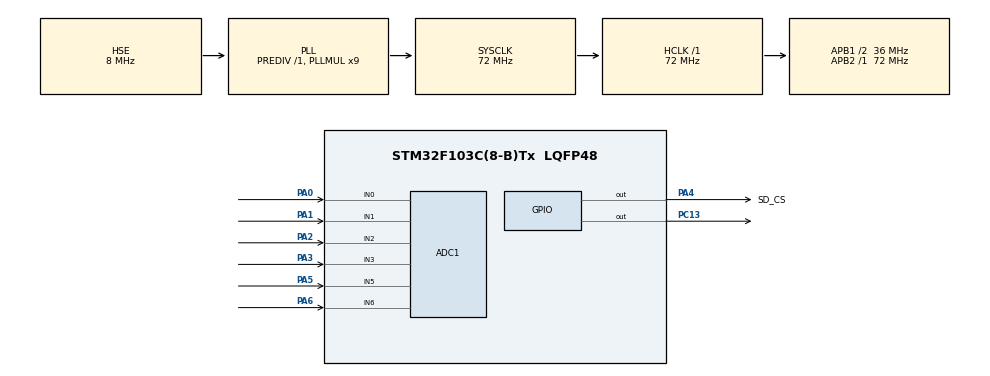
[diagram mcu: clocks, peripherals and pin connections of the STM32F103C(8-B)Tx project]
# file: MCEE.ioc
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ADC1.Channel-3\#ChannelRegularConversion=ADC_CHANNEL_0
ADC1.Channel-4\#ChannelRegularConversion=ADC_CHANNEL_1
ADC1.Channel-5\#ChannelRegularConversion=ADC_CHANNEL_2
ADC1.Channel-6\#ChannelRegularConversion=ADC_CHANNEL_3
ADC1.Channel-7\#ChannelRegularConversion=ADC_CHANNEL_5
ADC1.Channel-8\#ChannelRegularConversion=ADC_CHANNEL_6
ADC1.ExternalTrigConv=ADC_EXTERNALTRIGCONV_T3_TRGO
ADC1.NbrOfConversion=6
ADC1.NbrOfConversionFlag=1
ADC1.Rank-3\#ChannelRegularConversion=1
ADC1.Rank-4\#ChannelRegularConversion=2
ADC1.Rank-5\#ChannelRegularConversion=3
ADC1.Rank-6\#ChannelRegularConversion=4
ADC1.Rank-7\#ChannelRegularConversion=5
ADC1.Rank-8\#ChannelRegularConversion=6
ADC1.SamplingTime-3\#ChannelRegularConversion=ADC_SAMPLETIME_71CYCLES_5
ADC1.SamplingTime-4\#ChannelRegularConversion=ADC_SAMPLETIME_71CYCLES_5
ADC1.SamplingTime-5\#ChannelRegularConversion=ADC_SAMPLETIME_71CYCLES_5
ADC1.SamplingTime-6\#ChannelRegularConversion=ADC_SAMPLETIME_71CYCLES_5
ADC1.SamplingTime-7\#ChannelRegularConversion=ADC_SAMPLETIME_71CYCLES_5
ADC1.SamplingTime-8\#ChannelRegularConversion=ADC_SAMPLETIME_71CYCLES_5
ADC1.master=1
Dma.ADC1.0.Direction=DMA_PERIPH_TO_MEMORY
Dma.ADC1.0.Instance=DMA1_Channel1
Dma.ADC1.0.MemDataAlignment=DMA_MDATAALIGN_HALFWORD
Dma.ADC1.0.MemInc=DMA_MINC_ENABLE
Dma.ADC1.0.Mode=DMA_CIRCULAR
Dma.ADC1.0.PeriphDataAlignment=DMA_PDATAALIGN_HALFWORD
Dma.ADC1.0.PeriphInc=DMA_PINC_DISABLE
Dma.ADC1.0.Priority=DMA_PRIORITY_VERY_HIGH
Dma.Request0=ADC1
Mcu.Family=STM32F1
Mcu.Name=STM32F103C(8-B)Tx
Mcu.Package=LQFP48
NVIC.DMA1_Channel1_IRQn=true\:0\:0\:false\:false\:true\:false\:true\:true
NVIC.PriorityGroup=NVIC_PRIORITYGROUP_4
PA0-WKUP.Signal=ADCx_IN0
PA1.Signal=ADCx_IN1
PA13.Mode=Serial_Wire
PA13.Signal=SYS_JTMS-SWDIO
PA14.Mode=Serial_Wire
PA14.Signal=SYS_JTCK-SWCLK
PA2.Signal=ADCx_IN2
PA3.Signal=ADCx_IN3
PA4.GPIO_Label=SD_CS
PA4.Signal=GPIO_Output
PA5.Signal=ADCx_IN5
PA6.Signal=ADCx_IN6
PC13-TAMPER-RTC.GPIO_PuPd=GPIO_NOPULL
PC13-TAMPER-RTC.Signal=GPIO_Output
PC14-OSC32_IN.Mode=LSE-External-Oscillator
PC14-OSC32_IN.Signal=RCC_OSC32_IN
PC15-OSC32_OUT.Mode=LSE-External-Oscillator
PC15-OSC32_OUT.Signal=RCC_OSC32_OUT
PD0-OSC_IN.Mode=HSE-External-Oscillator
PD0-OSC_IN.Signal=RCC_OSC_IN
PD1-OSC_OUT.Mode=HSE-External-Oscillator
PD1-OSC_OUT.Signal=RCC_OSC_OUT
ProjectManager.HeapSize=0x200
ProjectManager.StackSize=0x400
ProjectManager.TargetToolchain=STM32CubeIDE
RCC.ADCPresc=RCC_ADCPCLK2_DIV6
RCC.AHBFreq_Value=72000000
RCC.APB1CLKDivider=RCC_HCLK_DIV2
RCC.APB1Freq_Value=36000000
RCC.APB1TimFreq_Value=72000000
RCC.APB2Freq_Value=72000000
RCC.APB2TimFreq_Value=72000000
RCC.HCLKFreq_Value=72000000
RCC.PLLMUL=RCC_PLL_MUL9
RCC.PLLSourceVirtual=RCC_PLLSOURCE_HSE
RCC.SYSCLKFreq_VALUE=72000000
RCC.SYSCLKSource=RCC_SYSCLKSOURCE_PLLCLK
RCC.USBFreq_Value=72000000
SH.ADCx_IN0.0=ADC1_IN0,IN0
SH.ADCx_IN1.0=ADC1_IN1,IN1
SH.ADCx_IN2.0=ADC1_IN2,IN2
SH.ADCx_IN3.0=ADC1_IN3,IN3
SH.ADCx_IN5.0=ADC1_IN5,IN5
SH.ADCx_IN6.0=ADC1_IN6,IN6
TIM3.Period=199
TIM3.Prescaler=71
TIM3.TIM_MasterOutputTrigger=TIM_TRGO_UPDATE
VP_TIM3_VS_ClockSourceINT.Mode=Internal
board=custom

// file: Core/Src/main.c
/* USER CODE BEGIN Header */
/**
  ******************************************************************************
  * @file           : main.c
  * @brief          : Main program body
  ******************************************************************************
  * @attention
  *
  * Copyright (c) 2026 STMicroelectronics.
  * All rights reserved.
  *
  * This software is licensed under terms that can be found in the LICENSE file
  * in the root directory of this software component.
  * If no LICENSE file comes with this software, it is provided AS-IS.
  *
  ******************************************************************************
  */
/* USER CODE END Header */
#include "main.h"

/* USER CODE BEGIN Includes */
#include <math.h>
/* USER CODE END Includes */

ADC_HandleTypeDef hadc1;
DMA_HandleTypeDef hdma_adc1;
TIM_HandleTypeDef htim3;

/* USER CODE BEGIN PV */

/* ADC */
#define ADC_CHANNELS              6
#define DMA_BUFFER_SAMPLES        256
#define HALF_BUFFER_SAMPLES       (DMA_BUFFER_SAMPLES / 2)
#define SAMPLES_PER_CYCLE   100   // 5000 SPS / 50 Hz
#define WARMUP_BUFFERS   200   // ~5s de descarte antes de calibrar y medir
volatile uint16_t buffer_count = 0;
/* Buffer del ADC */
uint16_t adc_buffer[ADC_CHANNELS * DMA_BUFFER_SAMPLES];
volatile uint8_t adc_half_complete = 0;
volatile uint8_t adc_full_complete = 0;
uint8_t calibration_done = 0;

/* TENSION */
float voltage1[HALF_BUFFER_SAMPLES];
float voltage2[HALF_BUFFER_SAMPLES];
float voltage3[HALF_BUFFER_SAMPLES];
float voltage1_ac[HALF_BUFFER_SAMPLES];
float voltage2_ac[HALF_BUFFER_SAMPLES];
float voltage3_ac[HALF_BUFFER_SAMPLES];
float voltage1_offset = 0.0f;
float voltage2_offset = 0.0f;
float voltage3_offset = 0.0f;
float voltage1_gain = 229/1.355;//1.355vrms medidos con 228 vac medidos con multimetro
float voltage2_gain = 1.0f;
float voltage3_gain = 1.0f;
volatile float vrms1 = 0;
volatile float vrms2 = 0;
volatile float vrms3 = 0;
// Media movil
#define VRMS_AVG_SAMPLES   50   // ~1s de promedio (50 buffers de ~20ms)
volatile float vrms1_display = 0.0f;
static float vrms1_accum = 0.0f;
static uint16_t vrms1_avg_count = 0;

/* CORRIENTE */
float current1[HALF_BUFFER_SAMPLES];
float current2[HALF_BUFFER_SAMPLES];
float current3[HALF_BUFFER_SAMPLES];
float current1_ac[HALF_BUFFER_SAMPLES];
float current2_ac[HALF_BUFFER_SAMPLES];
float current3_ac[HALF_BUFFER_SAMPLES];
float current1_offset = 0.0f;
float current2_offset = 0.0f;
float current3_offset = 0.0f;
float current1_gain = 1.0f;
float current2_gain = 1.0f;
float current3_gain = 1.0f;
volatile float irms1 = 0;
volatile float irms2 = 0;
volatile float irms3 = 0;
// Media movil
volatile float irms1_display = 0.0f;
static float irms1_accum = 0.0f;
static uint16_t irms1_avg_count = 0;

/* FRECUENCIA */
volatile float measured_line_freq = 0.0f;
volatile float line_freq_min = 9999.0f;
volatile float line_freq_max = 0.0f;
#define ZC_HYSTERESIS   3.0f   // volts; ajustable segun ruido observado
#define MIN_SAMPLES_PER_CYCLE  95    // ~52.6Hz máximo plausible (+5%)
#define MAX_SAMPLES_PER_CYCLE  105   // ~47.6Hz mínimo plausible (-5%)

/* ARMONICOS */
#define MAX_HARMONIC   25   // armónico más alto a calcular (ajustable, hasta ~40-45 con margen)
float voltage1_harmonics[MAX_HARMONIC + 1]; // [1]=fundamental, [2]=2do armonico, etc. [0] no se usa
float voltage1_thd = 0.0f;

/* POTENCIA */
volatile float p_active1 = 0.0f;
volatile float p_apparent1 = 0.0f;
volatile float p_reactive1 = 0.0f;
volatile float power_factor1 = 0.0f;

/* EVENTOS: SAG-SWELL */
typedef enum { EVENT_NONE = 0, EVENT_SAG, EVENT_SWELL } event_type_t;
typedef struct {
    event_type_t type;
    uint32_t start_time_ms;
    uint32_t duration_ms;
    float extreme_value;   // valor minimo (sag) o maximo (swell) alcanzado
} power_event_t;
#define MAX_EVENTS_LOG   20
power_event_t events_log[MAX_EVENTS_LOG];
volatile uint8_t events_count = 0;
static event_type_t current_event_type = EVENT_NONE;
static uint32_t current_event_start = 0;
static float current_event_extreme = 0.0f;
#define NOMINAL_VOLTAGE       220.0f
#define SAG_THRESHOLD_LOW     (0.90f * NOMINAL_VOLTAGE)  // entra en sag
#define SAG_THRESHOLD_HIGH    (0.92f * NOMINAL_VOLTAGE)  // sale del sag (histeresis)
#define SWELL_THRESHOLD_HIGH  (1.10f * NOMINAL_VOLTAGE)  // entra en swell
#define SWELL_THRESHOLD_LOW   (1.08f * NOMINAL_VOLTAGE)  // sale del swell (histeresis)

/* USER CODE END PV */

void SystemClock_Config(void);
static void MX_GPIO_Init(void);
static void MX_DMA_Init(void);
static void MX_ADC1_Init(void);
static void MX_TIM3_Init(void);
/* USER CODE BEGIN PFP */
void ProcessADCBuffer(uint16_t *buffer);
void ProcessMeasurements(void);
void CalibrateOffset(void);
void ApplyCalibration(void);
float CalculateRMS(float *signal);
float CalculateMean(float *signal);
float GoertzelMagnitude(float *signal, uint16_t N, uint16_t k);
void CalculateHarmonics(float *signal);
float MeasureLineFrequency(float *signal, uint16_t N, float fs);
void CalculatePower(float *voltage_ac, float *current_ac, float vrms, float irms);
void DetectVoltageEvents(float vrms);

/* USER CODE END PFP */

int main(void)
{

  /* MCU Configuration--------------------------------------------------------*/

  /* Reset of all peripherals, Initializes the Flash interface and the Systick. */
  HAL_Init();

  /* Configure the system clock */
  SystemClock_Config();

  /* Initialize all configured peripherals */
  MX_GPIO_Init();
  MX_DMA_Init();
  MX_ADC1_Init();
  MX_TIM3_Init();
  /* USER CODE BEGIN 2 */

  HAL_TIM_Base_Start_IT(&htim3);
  HAL_ADC_Start_DMA(&hadc1, (uint32_t*)adc_buffer, ADC_CHANNELS * DMA_BUFFER_SAMPLES);
  /* USER CODE END 2 */

  /* Infinite loop */
  /* USER CODE BEGIN WHILE */
  while (1)
  {
	  // Leer y procesar las muestras capturadas por el ADC dependiendo si esta a la mitad o al final de la cola
	  if (adc_half_complete)
	  {
		  adc_half_complete = 0;
		  ProcessADCBuffer(&adc_buffer[0]);
		  ProcessMeasurements();
	  }

	  else if (adc_full_complete)
	  {
		  adc_full_complete = 0;
		  ProcessADCBuffer(&adc_buffer[(ADC_CHANNELS * DMA_BUFFER_SAMPLES)/2]);
		  ProcessMeasurements();
	  }

    /* USER CODE END WHILE */

  }
}

void SystemClock_Config(void)
{
  RCC_OscInitTypeDef RCC_OscInitStruct = {0};
  RCC_ClkInitTypeDef RCC_ClkInitStruct = {0};
  RCC_PeriphCLKInitTypeDef PeriphClkInit = {0};

  /** Initializes the RCC Oscillators according to the specified parameters
  * in the RCC_OscInitTypeDef structure.
  */
  RCC_OscInitStruct.OscillatorType = RCC_OSCILLATORTYPE_HSE;
  RCC_OscInitStruct.HSEState = RCC_HSE_ON;
  RCC_OscInitStruct.HSEPredivValue = RCC_HSE_PREDIV_DIV1;
  RCC_OscInitStruct.HSIState = RCC_HSI_ON;
  RCC_OscInitStruct.PLL.PLLState = RCC_PLL_ON;
  RCC_OscInitStruct.PLL.PLLSource = RCC_PLLSOURCE_HSE;
  RCC_OscInitStruct.PLL.PLLMUL = RCC_PLL_MUL9;
  if (HAL_RCC_OscConfig(&RCC_OscInitStruct) != HAL_OK)
  {
    Error_Handler();
  }

  /** Initializes the CPU, AHB and APB buses clocks
  */
  RCC_ClkInitStruct.ClockType = RCC_CLOCKTYPE_HCLK|RCC_CLOCKTYPE_SYSCLK
                              |RCC_CLOCKTYPE_PCLK1|RCC_CLOCKTYPE_PCLK2;
  RCC_ClkInitStruct.SYSCLKSource = RCC_SYSCLKSOURCE_PLLCLK;
  RCC_ClkInitStruct.AHBCLKDivider = RCC_SYSCLK_DIV1;
  RCC_ClkInitStruct.APB1CLKDivider = RCC_HCLK_DIV2;
  RCC_ClkInitStruct.APB2CLKDivider = RCC_HCLK_DIV1;

  if (HAL_RCC_ClockConfig(&RCC_ClkInitStruct, FLASH_LATENCY_2) != HAL_OK)
  {
    Error_Handler();
  }
  PeriphClkInit.PeriphClockSelection = RCC_PERIPHCLK_ADC;
  PeriphClkInit.AdcClockSelection = RCC_ADCPCLK2_DIV6;
  if (HAL_RCCEx_PeriphCLKConfig(&PeriphClkInit) != HAL_OK)
  {
    Error_Handler();
  }
}

static void MX_ADC1_Init(void)
{

  ADC_ChannelConfTypeDef sConfig = {0};

  /** Common config
  */
  hadc1.Instance = ADC1;
  hadc1.Init.ScanConvMode = ADC_SCAN_ENABLE;
  hadc1.Init.ContinuousConvMode = DISABLE;
  hadc1.Init.DiscontinuousConvMode = DISABLE;
  hadc1.Init.ExternalTrigConv = ADC_EXTERNALTRIGCONV_T3_TRGO;
  hadc1.Init.DataAlign = ADC_DATAALIGN_RIGHT;
  hadc1.Init.NbrOfConversion = 6;
  if (HAL_ADC_Init(&hadc1) != HAL_OK)
  {
    Error_Handler();
  }

  /** Configure Regular Channel
  */
  sConfig.Channel = ADC_CHANNEL_0;
  sConfig.Rank = ADC_REGULAR_RANK_1;
  sConfig.SamplingTime = ADC_SAMPLETIME_71CYCLES_5;
  if (HAL_ADC_ConfigChannel(&hadc1, &sConfig) != HAL_OK)
  {
    Error_Handler();
  }

  /** Configure Regular Channel
  */
  sConfig.Channel = ADC_CHANNEL_1;
  sConfig.Rank = ADC_REGULAR_RANK_2;
  if (HAL_ADC_ConfigChannel(&hadc1, &sConfig) != HAL_OK)
  {
    Error_Handler();
  }

  /** Configure Regular Channel
  */
  sConfig.Channel = ADC_CHANNEL_2;
  sConfig.Rank = ADC_REGULAR_RANK_3;
  if (HAL_ADC_ConfigChannel(&hadc1, &sConfig) != HAL_OK)
  {
    Error_Handler();
  }

  /** Configure Regular Channel
  */
  sConfig.Channel = ADC_CHANNEL_3;
  sConfig.Rank = ADC_REGULAR_RANK_4;
  if (HAL_ADC_ConfigChannel(&hadc1, &sConfig) != HAL_OK)
  {
    Error_Handler();
  }

  /** Configure Regular Channel
  */
  sConfig.Channel = ADC_CHANNEL_5;
  sConfig.Rank = ADC_REGULAR_RANK_5;
  if (HAL_ADC_ConfigChannel(&hadc1, &sConfig) != HAL_OK)
  {
    Error_Handler();
  }

  /** Configure Regular Channel
  */
  sConfig.Channel = ADC_CHANNEL_6;
  sConfig.Rank = ADC_REGULAR_RANK_6;
  if (HAL_ADC_ConfigChannel(&hadc1, &sConfig) != HAL_OK)
  {
    Error_Handler();
  }

}

static void MX_TIM3_Init(void)
{

  TIM_ClockConfigTypeDef sClockSourceConfig = {0};
  TIM_MasterConfigTypeDef sMasterConfig = {0};

  htim3.Instance = TIM3;
  htim3.Init.Prescaler = 71;
  htim3.Init.CounterMode = TIM_COUNTERMODE_UP;
  htim3.Init.Period = 199;
  htim3.Init.ClockDivision = TIM_CLOCKDIVISION_DIV1;
  htim3.Init.AutoReloadPreload = TIM_AUTORELOAD_PRELOAD_DISABLE;
  if (HAL_TIM_Base_Init(&htim3) != HAL_OK)
  {
    Error_Handler();
  }
  sClockSourceConfig.ClockSource = TIM_CLOCKSOURCE_INTERNAL;
  if (HAL_TIM_ConfigClockSource(&htim3, &sClockSourceConfig) != HAL_OK)
  {
    Error_Handler();
  }
  sMasterConfig.MasterOutputTrigger = TIM_TRGO_UPDATE;
  sMasterConfig.MasterSlaveMode = TIM_MASTERSLAVEMODE_DISABLE;
  if (HAL_TIMEx_MasterConfigSynchronization(&htim3, &sMasterConfig) != HAL_OK)
  {
    Error_Handler();
  }

}

static void MX_DMA_Init(void)
{

  /* DMA controller clock enable */
  __HAL_RCC_DMA1_CLK_ENABLE();

  /* DMA interrupt init */
  /* DMA1_Channel1_IRQn interrupt configuration */
  HAL_NVIC_SetPriority(DMA1_Channel1_IRQn, 0, 0);
  HAL_NVIC_EnableIRQ(DMA1_Channel1_IRQn);

}

static void MX_GPIO_Init(void)
{
  GPIO_InitTypeDef GPIO_InitStruct = {0};

  /* GPIO Ports Clock Enable */
  __HAL_RCC_GPIOC_CLK_ENABLE();
  __HAL_RCC_GPIOD_CLK_ENABLE();
  __HAL_RCC_GPIOA_CLK_ENABLE();

  /*Configure GPIO pin Output Level */
  HAL_GPIO_WritePin(GPIOC, GPIO_PIN_13, GPIO_PIN_RESET);

  /*Configure GPIO pin Output Level */
  HAL_GPIO_WritePin(SD_CS_GPIO_Port, SD_CS_Pin, GPIO_PIN_RESET);

  /*Configure GPIO pin : PC13 */
  GPIO_InitStruct.Pin = GPIO_PIN_13;
  GPIO_InitStruct.Mode = GPIO_MODE_OUTPUT_PP;
  GPIO_InitStruct.Pull = GPIO_NOPULL;
  GPIO_InitStruct.Speed = GPIO_SPEED_FREQ_LOW;
  HAL_GPIO_Init(GPIOC, &GPIO_InitStruct);

  /*Configure GPIO pin : SD_CS_Pin */
  GPIO_InitStruct.Pin = SD_CS_Pin;
  GPIO_InitStruct.Mode = GPIO_MODE_OUTPUT_PP;
  GPIO_InitStruct.Pull = GPIO_NOPULL;
  GPIO_InitStruct.Speed = GPIO_SPEED_FREQ_LOW;
  HAL_GPIO_Init(SD_CS_GPIO_Port, &GPIO_InitStruct);

}

/* USER CODE BEGIN 4 */

/******************************* ADQUISICÓN Y PROCESAMIENTO DE MUESTRAS ***************************/
/* Callback de buffer completo */
void HAL_ADC_ConvCpltCallback(ADC_HandleTypeDef* hadc)
{
    adc_full_complete = 1;
}

/* Callback de mitad de buffer */
void HAL_ADC_ConvHalfCpltCallback(ADC_HandleTypeDef* hadc)
{
    adc_half_complete = 1;
}

void ProcessADCBuffer(uint16_t *buffer)
{
    for(uint16_t i = 0; i < HALF_BUFFER_SAMPLES; i++)
    {
        uint16_t index = i * ADC_CHANNELS;
        // ADC de 12 Bits: 2^12=4095
        voltage1[i] =((buffer[index + 0] * 3.3f) / 4095.0f);
        current1[i] =((buffer[index + 1] * 3.3f) / 4095.0f);
        voltage2[i] =((buffer[index + 2] * 3.3f) / 4095.0f);
        current2[i] =((buffer[index + 3] * 3.3f) / 4095.0f);
        voltage3[i] =((buffer[index + 4] * 3.3f) / 4095.0f);
        current3[i] =((buffer[index + 5] * 3.3f) / 4095.0f);
    }
}

void ProcessMeasurements()
{
	/* Descartar buffers iniciales, todavia no calibrar ni medir */
    if (buffer_count < WARMUP_BUFFERS)
    {
        buffer_count++;
        return;
    }

    /* CALIBRACION */
    if (!calibration_done)
    {
        CalibrateOffset();
        calibration_done = 1;
    }
    ApplyCalibration();

    /* FRECUENCIA */
    measured_line_freq = MeasureLineFrequency(voltage1_ac, HALF_BUFFER_SAMPLES, 5000.0f);
    if (measured_line_freq > 0.0f)  // descartar el caso de "no se pudo medir"
    {
        if (measured_line_freq < line_freq_min) line_freq_min = measured_line_freq;
        if (measured_line_freq > line_freq_max) line_freq_max = measured_line_freq;
    }

    /* TENSION RMS */
	vrms1 = CalculateRMS(voltage1_ac);
    vrms1_accum += vrms1;
    vrms1_avg_count++;
    if (vrms1_avg_count >= VRMS_AVG_SAMPLES)
    {
        vrms1_display = vrms1_accum / VRMS_AVG_SAMPLES;
        vrms1_accum = 0.0f;
        vrms1_avg_count = 0;
    }

    /* CORRIENTE RMS */
    irms1 = CalculateRMS(current1_ac);
    irms1_accum += irms1;
    irms1_avg_count++;
    if (irms1_avg_count >= VRMS_AVG_SAMPLES)
    {
        irms1_display = irms1_accum / VRMS_AVG_SAMPLES;
        irms1_accum = 0.0f;
        irms1_avg_count = 0;
    }

    /* POTENCIA */
    CalculatePower(voltage1_ac, current1_ac, vrms1, irms1);

    /* ARMONICOS */
	CalculateHarmonics(voltage1_ac);

	/* DETECCION DE EVENTOS */
	DetectVoltageEvents(vrms1);

}

/*******************************   CALIBRACION ***************************/
void CalibrateOffset(void)
{
    voltage1_offset = CalculateMean(voltage1);
    current1_offset = CalculateMean(current1);

    voltage2_offset = CalculateMean(voltage2);
    current2_offset = CalculateMean(current2);

    voltage3_offset = CalculateMean(voltage3);
    current3_offset = CalculateMean(current3);
}

void ApplyCalibration(void)
{
    for(uint16_t i = 0; i < HALF_BUFFER_SAMPLES; i++)
    {
        voltage1_ac[i] =
            (voltage1[i] - voltage1_offset) * voltage1_gain;

        current1_ac[i] =
            (current1[i] - current1_offset) * current1_gain;

        voltage2_ac[i] =
            (voltage2[i] - voltage2_offset) * voltage2_gain;

        current2_ac[i] =
            (current2[i] - current2_offset) * current2_gain;

        voltage3_ac[i] =
            (voltage3[i] - voltage3_offset) * voltage3_gain;

        current3_ac[i] =
            (current3[i] - current3_offset) * current3_gain;
    }
}

/*******************************   CALCULO DE MAGNITUDES ***************************/
float CalculateRMS(float *signal)
{
    float sum = 0.0f;

    for(uint16_t i = 0; i < SAMPLES_PER_CYCLE; i++)
    {
        sum += signal[i] * signal[i];
    }

    return sqrtf(sum / SAMPLES_PER_CYCLE);
}

float CalculateMean(float *signal)
{
    float sum = 0.0f;

    for(uint16_t i = 0; i < SAMPLES_PER_CYCLE; i++)
    {
        sum += signal[i];
    }

    return sum / SAMPLES_PER_CYCLE;
}

float MeasureLineFrequency(float *signal, uint16_t N, float fs)
{
    int16_t first_crossing = -1;
    int16_t second_crossing = -1;
    uint8_t armed = 0; // se "arma" cuando la señal estuvo claramente negativa

    for (uint16_t i = 0; i < N; i++)
    {
        if (signal[i] < -ZC_HYSTERESIS)
        {
            armed = 1; // confirmamos que venimos de la parte negativa del ciclo
        }
        else if (armed && signal[i] > ZC_HYSTERESIS)
        {
            // cruce ascendente válido: veniamos de <-hist y ahora estamos en >+hist
            if (first_crossing == -1)
            {
                first_crossing = i;
            }
            else
            {
                second_crossing = i;
                break;
            }
            armed = 0; // hay que volver a "armar" antes del próximo cruce
        }
    }

    if (first_crossing >= 0 && second_crossing > first_crossing)
    {
        uint16_t samples_per_cycle_real = second_crossing - first_crossing;

        // Descartar resultados fuera de rango plausible (indican ruido/glitch, no un ciclo real)
        if (samples_per_cycle_real >= MIN_SAMPLES_PER_CYCLE &&
            samples_per_cycle_real <= MAX_SAMPLES_PER_CYCLE)
        {
            return fs / (float)samples_per_cycle_real;
        }
    }

    return 0.0f; // no se pudo medir un ciclo plausible
}

void CalculatePower(float *voltage_ac, float *current_ac, float vrms, float irms)
{
    float sum_inst = 0.0f;

    for (uint16_t i = 0; i < SAMPLES_PER_CYCLE; i++)
    {
        sum_inst += voltage_ac[i] * current_ac[i];
    }

    p_active1 = sum_inst / SAMPLES_PER_CYCLE;   // Potencia activa (W)
    p_apparent1 = vrms * irms;                   // Potencia aparente (VA)

    float q_sq = (p_apparent1 * p_apparent1) - (p_active1 * p_active1);
    p_reactive1 = (q_sq > 0.0f) ? sqrtf(q_sq) : 0.0f;   // Potencia no-activa (VAR)

    power_factor1 = (p_apparent1 > 0.0f) ? (p_active1 / p_apparent1) : 0.0f;
}

/*******************************   ARMONICOS ***************************/
/* Calcula la amplitud del armonico "k" (k=1 es la fundamental) sobre un buffer de N muestras */
float GoertzelMagnitude(float *signal, uint16_t N, uint16_t k)
{
    float w = 2.0f * 3.14159265f * k / N;
    float coeff = 2.0f * cosf(w);

    float s_prev = 0.0f;
    float s_prev2 = 0.0f;

    for (uint16_t i = 0; i < N; i++)
    {
        float s = signal[i] + coeff * s_prev - s_prev2;
        s_prev2 = s_prev;
        s_prev = s;
    }

    float real = s_prev - s_prev2 * cosf(w);
    float imag = s_prev2 * sinf(w);

    // Amplitud normalizada (factor 2/N para amplitud de pico de una senoidal real)
    return (2.0f / N) * sqrtf(real * real + imag * imag);
}

void CalculateHarmonics(float *signal)
{
    for (uint16_t k = 1; k <= MAX_HARMONIC; k++)
    {
        voltage1_harmonics[k] = GoertzelMagnitude(signal, SAMPLES_PER_CYCLE, k);
    }

    float sum_sq_harmonics = 0.0f;
    for (uint16_t k = 2; k <= MAX_HARMONIC; k++)
    {
        sum_sq_harmonics += voltage1_harmonics[k] * voltage1_harmonics[k];
    }

    voltage1_thd = (voltage1_harmonics[1] > 0.0f)
        ? (sqrtf(sum_sq_harmonics) / voltage1_harmonics[1]) * 100.0f
        : 0.0f;
}

/*******************************   EVENTOS SAG-SWELL ***************************/
void DetectVoltageEvents(float vrms)
{
    if (current_event_type == EVENT_NONE)
    {
        if (vrms < SAG_THRESHOLD_LOW)
        {
            current_event_type = EVENT_SAG;
            current_event_start = HAL_GetTick();
            current_event_extreme = vrms;
        }
        else if (vrms > SWELL_THRESHOLD_HIGH)
        {
            current_event_type = EVENT_SWELL;
            current_event_start = HAL_GetTick();
            current_event_extreme = vrms;
        }
    }
    else if (current_event_type == EVENT_SAG)
    {
        if (vrms < current_event_extreme) current_event_extreme = vrms;

        if (vrms >= SAG_THRESHOLD_HIGH)
        {
            if (events_count < MAX_EVENTS_LOG)
            {
                events_log[events_count].type = EVENT_SAG;
                events_log[events_count].start_time_ms = current_event_start;
                events_log[events_count].duration_ms = HAL_GetTick() - current_event_start;
                events_log[events_count].extreme_value = current_event_extreme;
                events_count++;
            }
            current_event_type = EVENT_NONE;
        }
    }
    else // EVENT_SWELL
    {
        if (vrms > current_event_extreme) current_event_extreme = vrms;

        if (vrms <= SWELL_THRESHOLD_LOW)
        {
            if (events_count < MAX_EVENTS_LOG)
            {
                events_log[events_count].type = EVENT_SWELL;
                events_log[events_count].start_time_ms = current_event_start;
                events_log[events_count].duration_ms = HAL_GetTick() - current_event_start;
                events_log[events_count].extreme_value = current_event_extreme;
                events_count++;
            }
            current_event_type = EVENT_NONE;
        }
    }
}

/* USER CODE END 4 */

void Error_Handler(void)
{
  __disable_irq();
  while (1)
  {
  }
}
